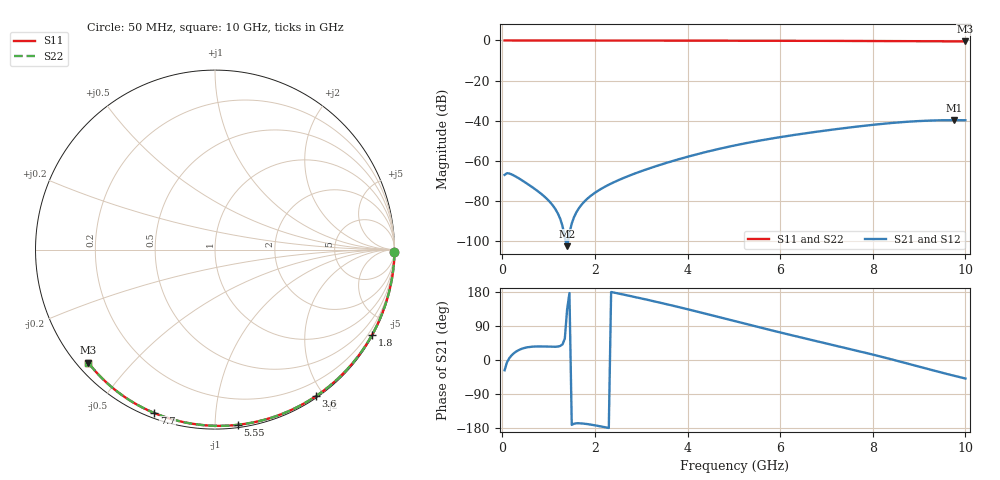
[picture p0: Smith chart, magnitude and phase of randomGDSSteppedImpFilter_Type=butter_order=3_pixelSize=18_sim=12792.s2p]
! freq	dB(S11)	phase(S11)	dB(S12)	phase(S12)
!  dB(S21)	phase(S21)	dB(S22)	phase(S22)
!S-par simulation data
#  GHz  S  DB  R 50
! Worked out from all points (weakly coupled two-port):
!   200 points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, 50 MHz to 10 GHz, reference 50 ohm
!   highest |S21| = -39.78 dB at 9.75 GHz (marker M1); lowest = -102.7 dB at 1.4 GHz (marker M2)
!   lowest |S11| = -0.5 dB at 10 GHz (marker M3), VSWR 36.17, Z = 1.58 - j19.1 ohm
!   |S11| at or under -10 dB: nowhere
!   |S22| runs from -0.5 to 0.0 dB; largest |S21 - S12| = 0
!   S11 on the Smith chart (normalised r, x): 50 MHz: open; 1.8 GHz: 0.03, -3.96; 3.6 GHz: 0.02, -1.90; 5.55 GHz: 0.02, -1.14; 7.7 GHz: 0.02, -0.70; 10 GHz: 0.03, -0.38
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0.05  -0.00 -0.8  -67.09 -27.1  -67.09 -27.1  -0.00 -0.8
0.1  -0.00 -1.6  -66.24 -6.4  -66.24 -6.4  -0.00 -1.6
0.15  -0.00 -2.4  -66.40 4.6  -66.40 4.6  -0.00 -2.4
0.3  -0.00 -4.8  -68.03 22.3  -68.03 22.3  -0.00 -4.8
0.75  -0.01 -12.0  -74.93 35.8  -74.93 35.8  -0.01 -12.0
1  -0.02 -15.9  -79.92 35.1  -79.92 35.1  -0.02 -15.9
1.4  -0.03 -22.2  -102.67 133.7  -102.67 133.7  -0.03 -22.2
1.75  -0.04 -27.6  -80.94 -167.8  -80.94 -167.8  -0.04 -27.6
1.8  -0.04 -28.4  -79.76 -168.5  -79.76 -168.5  -0.04 -28.4
2.05  -0.04 -32.2  -75.26 -173.5  -75.26 -173.5  -0.04 -32.2
2.35  -0.05 -36.8  -71.41 179.4  -71.41 179.4  -0.05 -36.8
2.85  -0.06 -44.3  -66.52 166.6  -66.52 166.6  -0.06 -44.3
3.4  -0.07 -52.5  -62.14 151.5  -62.14 151.5  -0.07 -52.5
3.6  -0.07 -55.4  -60.71 145.8  -60.71 145.8  -0.07 -55.4
4.3  -0.09 -65.5  -56.23 125.0  -56.23 125.0  -0.09 -65.5
5.05  -0.12 -75.9  -52.24 101.7  -52.24 101.7  -0.12 -75.9
5.55  -0.14 -82.7  -50.02 86.3  -50.02 86.3  -0.14 -82.7
6.7  -0.19 -97.8  -45.84 52.3  -45.84 52.3  -0.19 -97.8
7.7  -0.25 -110.4  -42.88 23.3  -42.88 23.3  -0.25 -110.4
8.35  -0.30 -118.4  -41.31 3.5  -41.31 3.5  -0.30 -118.4
9.75  -0.45 -135.2  -39.78 -41.4  -39.78 -41.4  -0.45 -135.2
10  -0.48 -138.2  -39.82 -48.9  -39.82 -48.9  -0.48 -138.2
